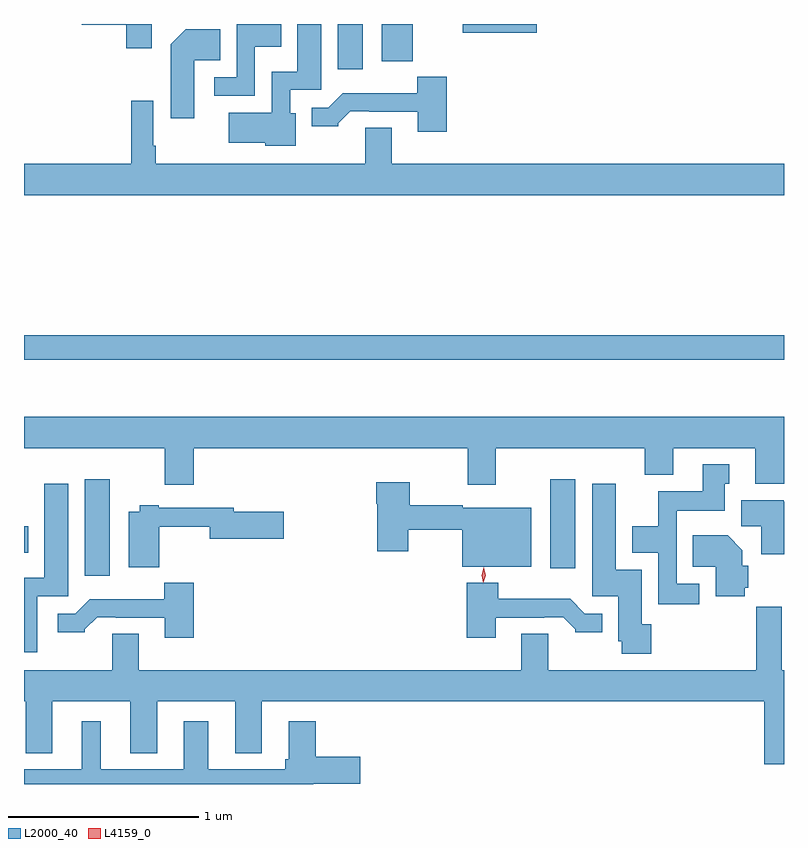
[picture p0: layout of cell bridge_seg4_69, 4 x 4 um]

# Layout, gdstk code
import gdstk
lib = gdstk.Library(unit=1e-6, precision=1e-09)
def R(c, l, rs):  # rectangles x0, y0, x1, y1
    for r in rs: c.add(gdstk.rectangle(r[:2], r[2:], *l))
def P(c, l, *ps):  # polygons
    for p in ps: c.add(gdstk.Polygon(p, *l))
L2000_40 = (2000, 40)
L4159_0 = (4159, 0)

bridge_seg4_69 = lib.new_cell('bridge_seg4_69')
R(bridge_seg4_69, L2000_40, [(767.861,768.177,767.992,768.685), (770.312,768.216,770.443,768.685), (767.541,768.296,767.563,768.436), (767.541,769.314,771.541,769.442), (769.193,770.841,769.324,771.08), (769.424,770.885,769.586,771.08), (769.85,771.035,770.239,771.08)])
P(bridge_seg4_69, L2000_40, [(768.97,770.61),(768.942,770.61),(768.942,770.733),(769.105,770.733),(769.105,771.08),(768.98,771.08),(768.98,770.83),(768.846,770.83),(768.846,770.614),(768.618,770.614),(768.618,770.456),(768.81,770.456),(768.81,770.438),(768.97,770.438)],
  [(768.756,770.96),(768.895,770.96),(768.895,771.08),(768.66,771.08),(768.66,770.799),(768.543,770.799),(768.543,770.703),(768.756,770.703)],
  [(768.214,771.08),(767.844,771.08),(767.844,771.077),(768.08,771.077),(768.08,770.952),(768.214,770.952)],
  [(768.436,770.888),(768.575,770.888),(768.575,771.052),(768.392,771.052),(768.314,770.974),(768.314,770.583),(768.436,770.583)],
  [(769.766,770.803),(769.611,770.803),(769.611,770.716),(769.219,770.716),(769.143,770.64),(769.055,770.64),(769.055,770.543),(769.194,770.543),(769.194,770.558),(769.258,770.622),(769.357,770.622),(769.357,770.619),(769.613,770.619),(769.613,770.514),(769.766,770.514)],
  [(771.541,770.344),(769.477,770.344),(769.477,770.534),(769.337,770.534),(769.337,770.344),(768.235,770.344),(768.235,770.44),(768.222,770.44),(768.222,770.677),(768.106,770.677),(768.106,770.344),(767.541,770.344),(767.541,770.18),(771.541,770.18)],
  [(768.434,768.848),(769.876,768.848),(769.876,768.654),(770.023,768.654),(770.023,768.848),(770.807,768.848),(770.807,768.707),(770.959,768.707),(770.959,768.848),(771.389,768.848),(771.389,768.659),(771.541,768.659),(771.541,769.012),(767.541,769.012),(767.541,768.848),(768.281,768.848),(768.281,768.654),(768.434,768.654)],
  [(771.094,768.135),(770.976,768.135),(770.976,768.518),(771.229,768.518),(771.229,768.66),(771.253,768.66),(771.253,768.763),(771.113,768.763),(771.113,768.622),(770.878,768.622),(770.878,768.436),(770.741,768.436),(770.741,768.296),(770.88,768.296),(770.88,768.027),(771.094,768.027)],
  [(770.212,768.535),(769.851,768.535),(769.851,768.547),(769.572,768.547),(769.572,768.667),(769.394,768.667),(769.394,768.554),(769.399,768.554),(769.399,768.306),(769.564,768.306),(769.564,768.418),(769.847,768.418),(769.847,768.224),(770.212,768.224)],
  [(770.843,767.922),(770.791,767.922),(770.791,768.208),(770.656,768.208),(770.656,768.661),(770.531,768.661),(770.531,768.069),(770.669,768.069),(770.669,767.832),(770.686,767.832),(770.686,767.766),(770.843,767.766)],
  [(767.61,768.069),(767.773,768.069),(767.773,768.661),(767.648,768.661),(767.648,768.166),(767.541,768.166),(767.541,767.774),(767.61,767.774)],
  [(771.541,768.565),(771.54,768.565),(771.54,768.574),(771.317,768.574),(771.317,768.436),(771.422,768.436),(771.422,768.288),(771.541,768.288)],
  [(768.254,768.433),(768.518,768.433),(768.518,768.371),(768.907,768.371),(768.907,768.513),(768.646,768.513),(768.646,768.534),(768.25,768.534),(768.25,768.547),(768.15,768.547),(768.15,768.514),(768.092,768.514),(768.092,768.221),(768.254,768.221)],
  [(771.334,768.114),(771.353,768.114),(771.353,768.228),(771.322,768.228),(771.322,768.31),(771.244,768.388),(771.061,768.388),(771.061,768.224),(771.182,768.224),(771.182,768.067),(771.334,768.067)],
  [(768.434,768.139),(768.279,768.139),(768.279,768.052),(767.887,768.052),(767.811,767.976),(767.718,767.976),(767.718,767.879),(767.862,767.879),(767.862,767.894),(767.926,767.958),(768.025,767.958),(768.025,767.955),(768.281,767.955),(768.281,767.85),(768.434,767.85)],
  [(770.023,767.955),(770.279,767.955),(770.279,767.958),(770.378,767.958),(770.442,767.894),(770.442,767.879),(770.584,767.879),(770.584,767.976),(770.493,767.976),(770.415,768.055),(770.036,768.055),(770.036,768.139),(769.871,768.139),(769.871,767.85),(770.023,767.85)],
  [(770.159,767.87),(770.159,767.68),(768.145,767.68),(768.145,767.87),(768.005,767.87),(768.005,767.68),(767.541,767.68),(767.541,767.516),(767.549,767.516),(767.549,767.243),(767.689,767.243),(767.689,767.516),(768.101,767.516),(768.101,767.243),(768.241,767.243),(768.241,767.516),(768.653,767.516),(768.653,767.243),(768.793,767.243),(768.793,767.516),(771.436,767.516),(771.436,767.184),(771.541,767.184),(771.541,767.68),(771.53,767.68),(771.53,768.013),(771.394,768.013),(771.394,767.68),(770.299,767.68),(770.299,767.87)],
  [(769.063,767.081),(769.312,767.081),(769.312,767.223),(769.076,767.223),(769.076,767.41),(768.935,767.41),(768.935,767.211),(768.916,767.211),(768.916,767.158),(768.511,767.158),(768.511,767.41),(768.383,767.41),(768.383,767.158),(767.944,767.158),(767.944,767.41),(767.846,767.41),(767.846,767.158),(767.541,767.158),(767.541,767.08),(769.063,767.08)])
P(bridge_seg4_69, L4159_0, [(769.957,768.138),(769.957,768.138),(769.95,768.18),(769.962,768.22),(769.962,768.22),(769.962,768.22),(769.97,768.178),(769.957,768.138)])

lib.write_gds('bridge_seg4_69.gds')
